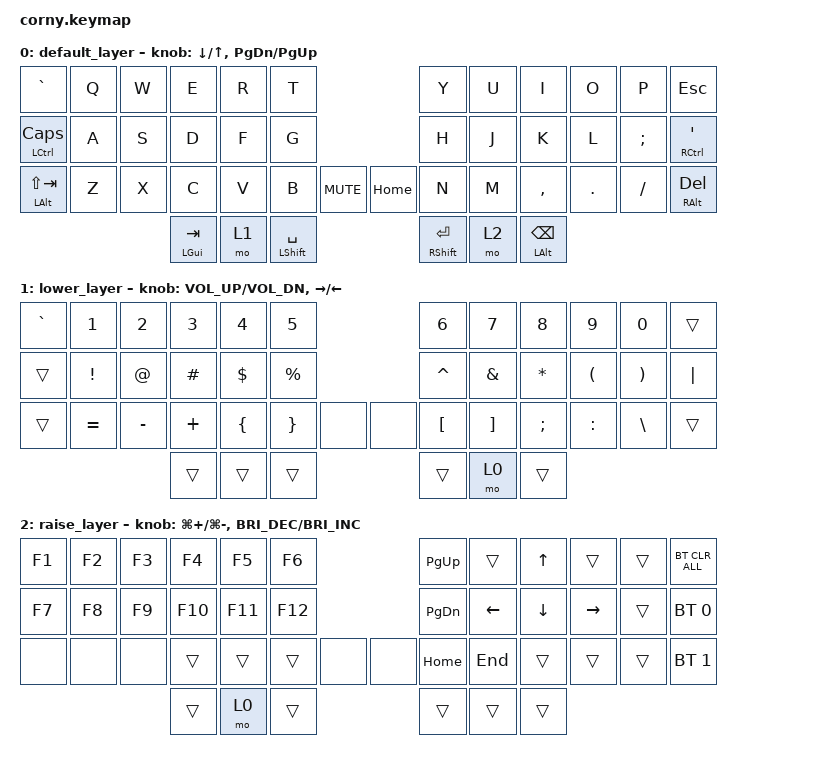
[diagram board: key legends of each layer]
#include <behaviors.dtsi>
#include <dt-bindings/zmk/bt.h>
#include <dt-bindings/zmk/keys.h>
#include <dt-bindings/zmk/mouse.h>

/ {
    combos {
        compatible = "zmk,combos";

        Spacebar {
            bindings = <&kp SPACE>;
            key-positions = <16 15>;
        };

        MouseLCLCK {
            bindings = <&mkp LCLK>;
            key-positions = <17 16>;
        };

        MouseRCLCK {
            bindings = <&mkp RCLK>;
            key-positions = <15 14>;
        };
    };

    keymap {
        compatible = "zmk,keymap";

        default_layer {
            // -------------------------------------------------------------------------------------------------
            // |  TAB |  Q  |  W  |  E  |  R  |  T  |                    |  Y  |  U   |  I  |  O  |  P  | BKSP |
            // | CTRL |  A  |  S  |  D  |  F  |  G  |                    |  H  |  J   |  K  |  L  |  ;  |  '   |
            // | SHFT |  Z  |  X  |  C  |  V  |  B  |  MUTE  |  |        |  N  |  M   |  ,  |  .  |  /  | ESC  |
            //                    | GUI | LWR | SPC |                    | ENT | RSE  | ALT |

            bindings = <
&kp GRAVE             &kp Q  &kp W  &kp E         &kp R  &kp T                                       &kp Y                  &kp U  &kp I               &kp O    &kp P     &kp ESCAPE
&mt LCTRL CAPSLOCK    &kp A  &kp S  &kp D         &kp F  &kp G                                       &kp H                  &kp J  &kp K               &kp L    &kp SEMI  &mt RIGHT_CONTROL SQT
&mt LEFT_ALT LS(TAB)  &kp Z  &kp X  &kp C         &kp V  &kp B                 &kp K_MUTE  &kp HOME  &kp N                  &kp M  &kp COMMA           &kp DOT  &kp FSLH  &mt RIGHT_ALT DELETE
                                    &mt LGUI TAB  &mo 1  &mt LEFT_SHIFT SPACE                        &mt RIGHT_SHIFT ENTER  &mo 2  &mt LALT BACKSPACE
            >;

            sensor-bindings =
                <&inc_dec_kp DOWN UP_ARROW>,
                <&inc_dec_kp PAGE_DOWN PAGE_UP>;
        };

        lower_layer {
            // ------------------------------------------------------------------------------------------------
            // |  TAB |  1  |  2  |  3  |  4  |  5  |                    |  6  |  7  |  8  |  9  |  0  | BKSP |
            // | BTCLR| BT1 | BT2 | BT3 | BT4 | BT5 |                    | LFT | DWN |  UP | RGT |     |  F12 |
            // | SHFT | F1  | F2  | F3  | F4  | F5  |  boot  |  |        |  F6 | F7  | F8  | F9  | F10 |  F11 |
            //                    | GUI |     | SPC |                    | ENT |     | ALT |

            bindings = <
&kp GRAVE  &kp N1           &kp N2       &kp N3    &kp N4          &kp N5                         &kp N6            &kp N7             &kp N8         &kp N9                &kp N0                 &trans
&trans     &kp EXCLAMATION  &kp AT_SIGN  &kp HASH  &kp DOLLAR      &kp PERCENT                    &kp CARET         &kp AMPERSAND      &kp ASTERISK   &kp LEFT_PARENTHESIS  &kp RIGHT_PARENTHESIS  &kp PIPE
&trans     &kp EQUAL        &kp MINUS    &kp PLUS  &kp LEFT_BRACE  &kp RIGHT_BRACE  &none  &none  &kp LEFT_BRACKET  &kp RIGHT_BRACKET  &kp SEMICOLON  &kp COLON             &kp BACKSLASH          &trans
                                         &trans    &trans          &trans                         &trans            &mo 0              &trans
            >;

            sensor-bindings =
                <&inc_dec_kp C_VOL_UP C_VOL_DN>,
                <&inc_dec_kp RIGHT LEFT_ARROW>;
        };

        raise_layer {
            // ------------------------------------------------------------------------------------------------
            // |  TAB |  !  |  @  |  #  |  $  |  %  |                    |  ^  |  &  |  *  |  (  |  )  | BKSP |
            // | CTRL |     |     |     |     |     |                    |  -  |  =  |  [  |  ]  |  \  |  `   |
            // | SHFT |     |     |     |     |     |        |  |  boot  |  _  |  +  |  {  |  }  | "|" |  ~   |
            //                    | GUI |     | SPC |                    | ENT |     | ALT |

            bindings = <
&kp F1  &kp F2  &kp F3  &kp F4   &kp F5   &kp F6                 &kp PAGE_UP    &trans    &kp UP    &trans     &trans  &bt BT_CLR_ALL
&kp F7  &kp F8  &kp F9  &kp F10  &kp F11  &kp F12                &kp PAGE_DOWN  &kp LEFT  &kp DOWN  &kp RIGHT  &trans  &bt BT_SEL 0
&none   &none   &none   &trans   &trans   &trans   &none  &none  &kp HOME       &kp END   &trans    &trans     &trans  &bt BT_SEL 1
                        &trans   &mo 0    &trans                 &trans         &trans    &trans
            >;

            sensor-bindings =
                <&inc_dec_kp LG(PLUS) LG(MINUS)>,
                <&inc_dec_kp C_BRIGHTNESS_DEC C_BRIGHTNESS_INC>;
        };
    };
};
